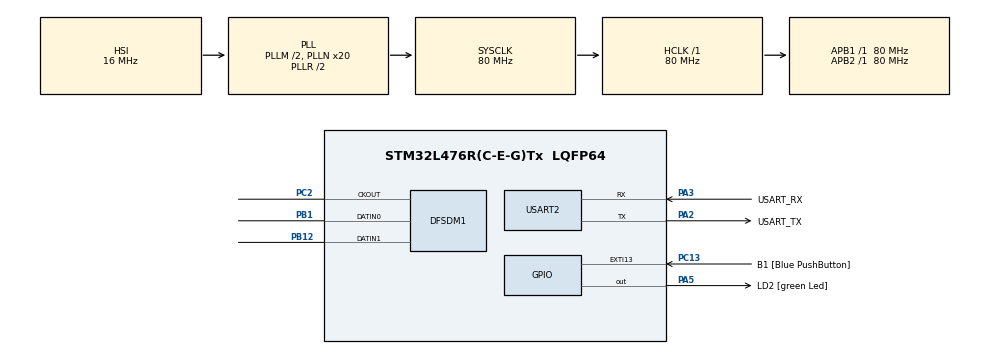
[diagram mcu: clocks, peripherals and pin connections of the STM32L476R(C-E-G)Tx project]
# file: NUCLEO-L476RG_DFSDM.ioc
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DFSDM1.Divider=17
DFSDM1.DmaMode_reg_FIL0=ENABLE
DFSDM1.DmaMode_reg_FIL1=ENABLE
DFSDM1.FastMode_reg_FIL0=ENABLE
DFSDM1.FastMode_reg_FIL1=ENABLE
DFSDM1.Filter_injChannel0_FIL0=__NULL
DFSDM1.Filter_injChannel1_FIL0=__NULL
DFSDM1.Filter_injChannel2_FIL0=__NULL
DFSDM1.Filter_regChannel_FIL0=DFSDM_CHANNEL_0
DFSDM1.Filter_regChannel_FIL1=DFSDM_CHANNEL_1
DFSDM1.Fosr_FIL0=32
DFSDM1.Fosr_FIL1=32
DFSDM1.Oversampling_CH0=10
DFSDM1.Oversampling_CH1=10
DFSDM1.RightBitShift_CH0=0x02
DFSDM1.RightBitShift_CH1=0x02
DFSDM1.Selection=DFSDM_CHANNEL_OUTPUT_CLOCK_SYSTEM
DFSDM1.SincOrder_FIL0=DFSDM_FILTER_SINC3_ORDER
DFSDM1.SincOrder_FIL1=DFSDM_FILTER_SINC3_ORDER
DFSDM1.Type_spi_CH0=DFSDM_CHANNEL_SPI_RISING
Dma.DFSDM1_FLT0.0.Direction=DMA_PERIPH_TO_MEMORY
Dma.DFSDM1_FLT0.0.Instance=DMA1_Channel4
Dma.DFSDM1_FLT0.0.MemDataAlignment=DMA_MDATAALIGN_WORD
Dma.DFSDM1_FLT0.0.MemInc=DMA_MINC_ENABLE
Dma.DFSDM1_FLT0.0.Mode=DMA_CIRCULAR
Dma.DFSDM1_FLT0.0.PeriphDataAlignment=DMA_PDATAALIGN_WORD
Dma.DFSDM1_FLT0.0.PeriphInc=DMA_PINC_DISABLE
Dma.DFSDM1_FLT0.0.Priority=DMA_PRIORITY_MEDIUM
Dma.DFSDM1_FLT1.1.Direction=DMA_PERIPH_TO_MEMORY
Dma.DFSDM1_FLT1.1.Instance=DMA1_Channel5
Dma.DFSDM1_FLT1.1.MemDataAlignment=DMA_MDATAALIGN_WORD
Dma.DFSDM1_FLT1.1.MemInc=DMA_MINC_ENABLE
Dma.DFSDM1_FLT1.1.Mode=DMA_CIRCULAR
Dma.DFSDM1_FLT1.1.PeriphDataAlignment=DMA_PDATAALIGN_WORD
Dma.DFSDM1_FLT1.1.PeriphInc=DMA_PINC_DISABLE
Dma.DFSDM1_FLT1.1.Priority=DMA_PRIORITY_MEDIUM
Dma.Request0=DFSDM1_FLT0
Dma.Request1=DFSDM1_FLT1
Mcu.Family=STM32L4
Mcu.Name=STM32L476R(C-E-G)Tx
Mcu.Package=LQFP64
NVIC.DMA1_Channel4_IRQn=true\:0\:0\:false\:false\:true\:true\:true
NVIC.DMA1_Channel5_IRQn=true\:0\:0\:false\:false\:true\:false\:true
NVIC.PriorityGroup=NVIC_PRIORITYGROUP_4
PA13\ (JTMS-SWDIO).GPIO_Label=TMS
PA13\ (JTMS-SWDIO).Signal=SYS_JTMS-SWDIO
PA14\ (JTCK-SWCLK).GPIO_Label=TCK
PA14\ (JTCK-SWCLK).Signal=SYS_JTCK-SWCLK
PA2.GPIO_Label=USART_TX
PA2.GPIO_Mode=GPIO_MODE_AF_PP
PA2.GPIO_PuPd=GPIO_NOPULL
PA2.GPIO_Speed=GPIO_SPEED_FREQ_VERY_HIGH
PA2.Mode=Asynchronous
PA2.Signal=USART2_TX
PA3.GPIO_Label=USART_RX
PA3.GPIO_Mode=GPIO_MODE_AF_PP
PA3.GPIO_PuPd=GPIO_NOPULL
PA3.GPIO_Speed=GPIO_SPEED_FREQ_VERY_HIGH
PA3.Mode=Asynchronous
PA3.Signal=USART2_RX
PA5.GPIO_Label=LD2 [green Led]
PA5.GPIO_ModeDefaultOutputPP=GPIO_MODE_OUTPUT_PP
PA5.GPIO_PuPd=GPIO_NOPULL
PA5.GPIO_Speed=GPIO_SPEED_FREQ_LOW
PA5.Signal=GPIO_Output
PB1.Signal=S_DATAIN0DFSDM1
PB12.Signal=S_DATAIN1DFSDM1
PB3\ (JTDO-TRACESWO).GPIO_Label=SWO
PB3\ (JTDO-TRACESWO).Signal=SYS_JTDO-SWO
PC13.GPIO_Label=B1 [Blue PushButton]
PC13.GPIO_ModeDefaultEXTI=GPIO_MODE_IT_FALLING
PC13.GPIO_PuPd=GPIO_NOPULL
PC13.Signal=GPXTI13
PC14-OSC32_IN\ (PC14).Signal=RCC_OSC32_IN
PC15-OSC32_OUT\ (PC15).Signal=RCC_OSC32_OUT
PC2.Signal=S_CKOUTDFSDM1
PH0-OSC_IN\ (PH0).Signal=RCC_OSC_IN
PH1-OSC_OUT\ (PH1).Signal=RCC_OSC_OUT
ProjectManager.HeapSize=0x200
ProjectManager.StackSize=0x400
ProjectManager.TargetToolchain=SW4STM32
RCC.ADCFreq_Value=96000000
RCC.AHBFreq_Value=80000000
RCC.APB1Freq_Value=80000000
RCC.APB1TimFreq_Value=80000000
RCC.APB2Freq_Value=80000000
RCC.APB2TimFreq_Value=80000000
RCC.CortexFreq_Value=80000000
RCC.HCLKFreq_Value=80000000
RCC.HSE_VALUE=8000000
RCC.HSI_VALUE=16000000
RCC.LSE_VALUE=32768
RCC.MSI_VALUE=4000000
RCC.PLLM=2
RCC.PLLN=20
RCC.PLLSAI1N=24
RCC.PLLSAI1Q=RCC_PLLQ_DIV4
RCC.PLLSourceVirtual=RCC_PLLSOURCE_HSI
RCC.PREFETCH_ENABLE=1
RCC.SYSCLKFreq_VALUE=80000000
RCC.SYSCLKSource=RCC_SYSCLKSOURCE_PLLCLK
RCC.USBFreq_Value=48000000
RCC.VCOOutputFreq_Value=160000000
SH.S_CKOUTDFSDM1.0=DFSDM1_CKOUT,PDM_SPI_input_from_ch0_and_internal_clock
SH.S_CKOUTDFSDM1.1=DFSDM1_CKOUT,CKOUT
SH.S_CKOUTDFSDM1.2=DFSDM1_CKOUT,PDM_SPI_input_from_ch1_and_internal_clock
SH.S_DATAIN0DFSDM1.0=DFSDM1_DATIN0,PDM_SPI_input_from_ch0_and_internal_clock
SH.S_DATAIN1DFSDM1.0=DFSDM1_DATIN1,PDM_SPI_input_from_ch1_and_internal_clock
USART2.VirtualMode-Asynchronous=VM_ASYNC
USART2.WordLength=WORDLENGTH_8B
board=NUCLEO-L476RG

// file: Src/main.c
/**
  ******************************************************************************
  * File Name          : main.c
  * Description        : Main program body
  ******************************************************************************
  ** This notice applies to any and all portions of this file
  * that are not between comment pairs USER CODE BEGIN and
  * USER CODE END. Other portions of this file, whether
  * inserted by the user or by software development tools
  * are owned by their respective copyright owners.
  *
  * COPYRIGHT(c) 2019 STMicroelectronics
  *
  * Redistribution and use in source and binary forms, with or without modification,
  * are permitted provided that the following conditions are met:
  *   1. Redistributions of source code must retain the above copyright notice,
  *      this list of conditions and the following disclaimer.
  *   2. Redistributions in binary form must reproduce the above copyright notice,
  *      this list of conditions and the following disclaimer in the documentation
  *      and/or other materials provided with the distribution.
  *   3. Neither the name of STMicroelectronics nor the names of its contributors
  *      may be used to endorse or promote products derived from this software
  *      without specific prior written permission.
  *
  * THIS SOFTWARE IS PROVIDED BY THE COPYRIGHT HOLDERS AND CONTRIBUTORS "AS IS"
  * AND ANY EXPRESS OR IMPLIED WARRANTIES, INCLUDING, BUT NOT LIMITED TO, THE
  * IMPLIED WARRANTIES OF MERCHANTABILITY AND FITNESS FOR A PARTICULAR PURPOSE ARE
  * DISCLAIMED. IN NO EVENT SHALL THE COPYRIGHT HOLDER OR CONTRIBUTORS BE LIABLE
  * FOR ANY DIRECT, INDIRECT, INCIDENTAL, SPECIAL, EXEMPLARY, OR CONSEQUENTIAL
  * DAMAGES (INCLUDING, BUT NOT LIMITED TO, PROCUREMENT OF SUBSTITUTE GOODS OR
  * SERVICES; LOSS OF USE, DATA, OR PROFITS; OR BUSINESS INTERRUPTION) HOWEVER
  * CAUSED AND ON ANY THEORY OF LIABILITY, WHETHER IN CONTRACT, STRICT LIABILITY,
  * OR TORT (INCLUDING NEGLIGENCE OR OTHERWISE) ARISING IN ANY WAY OUT OF THE USE
  * OF THIS SOFTWARE, EVEN IF ADVISED OF THE POSSIBILITY OF SUCH DAMAGE.
  *
  ******************************************************************************
  */
#include "main.h"
#include "stm32l4xx_hal.h"
#include "dfsdm.h"
#include "dma.h"
#include "usart.h"
#include "gpio.h"

/* USER CODE BEGIN Includes */
#include "math.h"
//#include "stdio.h"
#include "stdbool.h"
#include "arm_math.h"
/* USER CODE END Includes */

/* USER CODE BEGIN PV */
/* Private variables ---------------------------------------------------------*/
bool flag = true;
//int32_t BuffL[FFT_SampleNum * 2] = {0};
int32_t BuffLT[32 * 2] = {0};
int32_t BuffR[FFT_SampleNum * 2] = {0};

arm_rfft_fast_instance_f32 S;
char scan;
float FFT_SampleRate;
int32_t FFT_inp_int32L[FFT_SampleNum] = {0};
int32_t FFT_inp_int32R[FFT_SampleNum] = {0};
float FFT_inpL[FFT_SampleNum] = {0.0f};
float FFT_inpR[FFT_SampleNum] = {0.0f};
//float FFT_oupL[FFT_SampleNum] = {0.0f};
//float FFT_oupR[FFT_SampleNum] = {0.0f};
float FFT_magL[FFT_SampleNum/2] = {0.0f};
float FFT_magR[FFT_SampleNum/2] = {0.0f};
//float FFT_dBL[FFT_SampleNum/2] = {0.0f};
//float FFT_dBR[FFT_SampleNum/2] = {0.0f};
float frq = 0.0f;
//float FFT_frq[FFT_SampleNum/2] = {0.0f};
float FFT_window[FFT_SampleNum] = {0.0f};
/* USER CODE END PV */

void SystemClock_Config(void);

/* USER CODE BEGIN PFP */
/* Private function prototypes -----------------------------------------------*/

/* USER CODE END PFP */

int main(void)
{

  /* MCU Configuration----------------------------------------------------------*/

  /* Reset of all peripherals, Initializes the Flash interface and the Systick. */
  HAL_Init();

  /* Configure the system clock */
  SystemClock_Config();

  /* Initialize all configured peripherals */
  MX_GPIO_Init();
  MX_DMA_Init();
  MX_DFSDM1_Init();
  MX_USART2_UART_Init();

  /* USER CODE BEGIN 2 */
  printf("\r\n***** Program start! *****\r\n");
  HAL_Delay(100);
    if ((HAL_DFSDM_FilterRegularStart_DMA(&hdfsdm1_filter0, BuffLT, FFT_SampleNum) != HAL_OK) || (HAL_DFSDM_FilterRegularStart_DMA(&hdfsdm1_filter1, BuffR, FFT_SampleNum) != HAL_OK))
    {
        Error_Handler();
    }

    // FFT init
    FFT_SampleRate = SystemCoreClock / hdfsdm1_channel0.Init.OutputClock.Divider
            / hdfsdm1_filter0.Init.FilterParam.Oversampling
            / hdfsdm1_filter0.Init.FilterParam.IntOversampling;

    printf("%u - SystemCoreClock\n\r", SystemCoreClock);
    printf("%u - OutputClock.Divider\n\r", hdfsdm1_channel0.Init.OutputClock.Divider);
    printf("%u - FilterParam.Oversampling\n\r", hdfsdm1_filter0.Init.FilterParam.Oversampling);
    printf("%u - IntOversampling\n\r", hdfsdm1_filter0.Init.FilterParam.IntOversampling);

    // Hanning window
    const float tmp = 2.0f * M_PI / (float)FFT_SampleNum;
    for (uint32_t i = 0; i < FFT_SampleNum; i++)
        *(FFT_window + i) = 0.5f - 0.5f * arm_cos_f32((float) i * tmp);

    //for (uint32_t i = 0; i < FFT_SampleNum / 2; i++)
    	//*(FFT_frq + i) = (float)i * (float)FFT_SampleRate / (float) FFT_SampleNum;

    arm_rfft_fast_init_f32(&S, FFT_SampleNum);
  /* USER CODE END 2 */

  /* Infinite loop */
  /* USER CODE BEGIN WHILE */
  while (1)
  {
	  HAL_Delay(3000);
	  printf("\n\r\n\r\n\r");
	  for(int i = 0; i < 20; i++)
	  {

	 //   while(1)
	    //printf("%d\n\r", BuffLT[0]/100);
        // Wait
        // Raw data output
        /*for (uint32_t i = 0; i < FFT_SampleNum; i++)
             printf("%d\r\n", FFT_inp_int32[i]); */

        // Set input data
		  for (uint32_t i = 0; i < FFT_SampleNum; i++)
		  {
			  FFT_inpL[i] = (float) FFT_inp_int32L[i];
			  FFT_inpR[i] = (float) FFT_inp_int32R[i];
		  }

        // Windowing
		  arm_mult_f32(FFT_inpL, FFT_window, FFT_inpL, FFT_SampleNum);
		  arm_mult_f32(FFT_inpR, FFT_window, FFT_inpR, FFT_SampleNum);

        // Execute FFT
		  arm_rfft_fast_f32(&S, FFT_inpL, FFT_inpL, 0);
		  arm_rfft_fast_f32(&S, FFT_inpR, FFT_inpR, 0);

        // calculate magnitude
        //printf("\tdddddddddddddddddddddddddd\n\r");
        //printf("%f\n", FFT_inpL[127]);
        //printf("dddddddddddddddddddddddddd\n\r");
		  arm_cmplx_mag_f32(FFT_inpL, FFT_magL, FFT_SampleNum / 2);
		  arm_cmplx_mag_f32(FFT_inpR, FFT_magR, FFT_SampleNum / 2);

        // Normalization (Unitary transformation) of magnitude
        //printf("\tdddddddddddddddddddddddddd\n\r");
        //printf("%f\n", FFT_magL[127]);
        //printf("dddddddddddddddddddddddddd\n\r");
		  arm_scale_f32(FFT_magL, 1.0f / sqrtf((float) FFT_SampleNum), FFT_magL, FFT_SampleNum / 2);
		  arm_scale_f32(FFT_magR, 1.0f / sqrtf((float) FFT_SampleNum), FFT_magR, FFT_SampleNum / 2);

        // AC coupling
        /*
        for (uint32_t i = 0; i < FFT_SampleNum / 2; i++)
        {
            if (*(FFT_frq + i) < FFT_AC_COUPLING_HZ){
            	FFT_magL[i] = 1.0f;
            	FFT_magR[i] = 1.0f;
            }
            else
                break;
        }
        */
        /*
        float inv_dB_base_mag = 1.0f / 1.0f;
        for (uint32_t i = 0; i < FFT_SampleNum / 2; i++) {
            FFT_dBL[i] = 10.0f * log10f(FFT_magL[i] * inv_dB_base_mag);
            FFT_dBR[i] = 10.0f * log10f(FFT_magR[i] * inv_dB_base_mag);
        }
        */

        /*// calc max mag
        float mag_max, frq_max;
        uint32_t maxIndex;
        arm_max_f32(FFT_mag, FFT_SampleNum / 2, &mag_max, &maxIndex);
        frq_max = *(FFT_frq + maxIndex);

        printf("\r\nSampleRate=%d, frq_max = %.1f, mag_max = %f\r\n", (int)FFT_SampleRate, frq_max, mag_max);
        */

        //printf("\r\n\t---------Start---------\t\r\n");
		  frq = (float)4 * (float)FFT_SampleRate;
		  printf("frq - %f\tLeft - %f\r\n",(float)frq / (float)FFT_SampleNum, FFT_magL[4]);

        //while(1);
		  if(!B1_GPIO_Port)
			  printf("\n\rnjjjjjjjjjjjjj\n\r");
		  HAL_Delay(2);
		  flag = true;        // <- Continuous transformation
	  }
  /* USER CODE END WHILE */

  }

}

/** System Clock Configuration
*/
void SystemClock_Config(void)
{

  RCC_OscInitTypeDef RCC_OscInitStruct;
  RCC_ClkInitTypeDef RCC_ClkInitStruct;
  RCC_PeriphCLKInitTypeDef PeriphClkInit;

    /**Initializes the CPU, AHB and APB busses clocks
    */
  RCC_OscInitStruct.OscillatorType = RCC_OSCILLATORTYPE_HSI;
  RCC_OscInitStruct.HSIState = RCC_HSI_ON;
  RCC_OscInitStruct.HSICalibrationValue = 16;
  RCC_OscInitStruct.PLL.PLLState = RCC_PLL_ON;
  RCC_OscInitStruct.PLL.PLLSource = RCC_PLLSOURCE_HSI;
  RCC_OscInitStruct.PLL.PLLM = 2;
  RCC_OscInitStruct.PLL.PLLN = 20;
  RCC_OscInitStruct.PLL.PLLP = RCC_PLLP_DIV7;
  RCC_OscInitStruct.PLL.PLLQ = RCC_PLLQ_DIV2;
  RCC_OscInitStruct.PLL.PLLR = RCC_PLLR_DIV2;
  if (HAL_RCC_OscConfig(&RCC_OscInitStruct) != HAL_OK)
  {
    _Error_Handler(__FILE__, __LINE__);
  }

    /**Initializes the CPU, AHB and APB busses clocks
    */
  RCC_ClkInitStruct.ClockType = RCC_CLOCKTYPE_HCLK|RCC_CLOCKTYPE_SYSCLK
                              |RCC_CLOCKTYPE_PCLK1|RCC_CLOCKTYPE_PCLK2;
  RCC_ClkInitStruct.SYSCLKSource = RCC_SYSCLKSOURCE_PLLCLK;
  RCC_ClkInitStruct.AHBCLKDivider = RCC_SYSCLK_DIV1;
  RCC_ClkInitStruct.APB1CLKDivider = RCC_HCLK_DIV1;
  RCC_ClkInitStruct.APB2CLKDivider = RCC_HCLK_DIV1;

  if (HAL_RCC_ClockConfig(&RCC_ClkInitStruct, FLASH_LATENCY_4) != HAL_OK)
  {
    _Error_Handler(__FILE__, __LINE__);
  }

  PeriphClkInit.PeriphClockSelection = RCC_PERIPHCLK_USART2|RCC_PERIPHCLK_DFSDM1;
  PeriphClkInit.Usart2ClockSelection = RCC_USART2CLKSOURCE_PCLK1;
  PeriphClkInit.Dfsdm1ClockSelection = RCC_DFSDM1CLKSOURCE_PCLK;
  if (HAL_RCCEx_PeriphCLKConfig(&PeriphClkInit) != HAL_OK)
  {
    _Error_Handler(__FILE__, __LINE__);
  }

    /**Configure the main internal regulator output voltage
    */
  if (HAL_PWREx_ControlVoltageScaling(PWR_REGULATOR_VOLTAGE_SCALE1) != HAL_OK)
  {
    _Error_Handler(__FILE__, __LINE__);
  }

    /**Configure the Systick interrupt time
    */
  HAL_SYSTICK_Config(HAL_RCC_GetHCLKFreq()/1000);

    /**Configure the Systick
    */
  HAL_SYSTICK_CLKSourceConfig(SYSTICK_CLKSOURCE_HCLK);

  /* SysTick_IRQn interrupt configuration */
  HAL_NVIC_SetPriority(SysTick_IRQn, 0, 0);
}

/* USER CODE BEGIN 4 */

/**
  * @brief  Half regular conversion complete callback.
  * @param  hdfsdm_filter : DFSDM filter handle.
  * @retval None
  */
void HAL_DFSDM_FilterRegConvHalfCpltCallback(DFSDM_Filter_HandleTypeDef *hdfsdm_filter)
{
    /*static int i = 0;
    printf("%d\r\n", i);
    i++;*/
}

/**
  * @brief  Regular conversion complete callback.
  * @note   In interrupt mode, user has to read conversion value in this function
            using HAL_DFSDM_FilterGetRegularValue.
  * @param  hdfsdm_filter : DFSDM filter handle.
  * @retval None
  */
void HAL_DFSDM_FilterRegConvCpltCallback(DFSDM_Filter_HandleTypeDef *hdfsdm_filter)
{
    if (flag)
    {
        for (uint32_t i = 0; i < FFT_SampleNum; i++)
        {
            FFT_inp_int32L[i] = BuffLT[i];
            FFT_inp_int32R[i] = BuffR[i];
        }
        //flag = false;
    }

}

/**
 * @brief  Retargets the C library printf function to the USART.
 * @param  None
 * @retval None
 */
int _write(int file, char *ptr, int len)
{
    HAL_UART_Transmit(&huart2, (uint8_t *)ptr, (uint16_t)len, 0xFFFFFFFF);
    return len;
}
/* USER CODE END 4 */

void _Error_Handler(char * file, int line)
{
  while(1)
  {
  }
}

/************************ (C) COPYRIGHT STMicroelectronics *****END OF FILE****/
